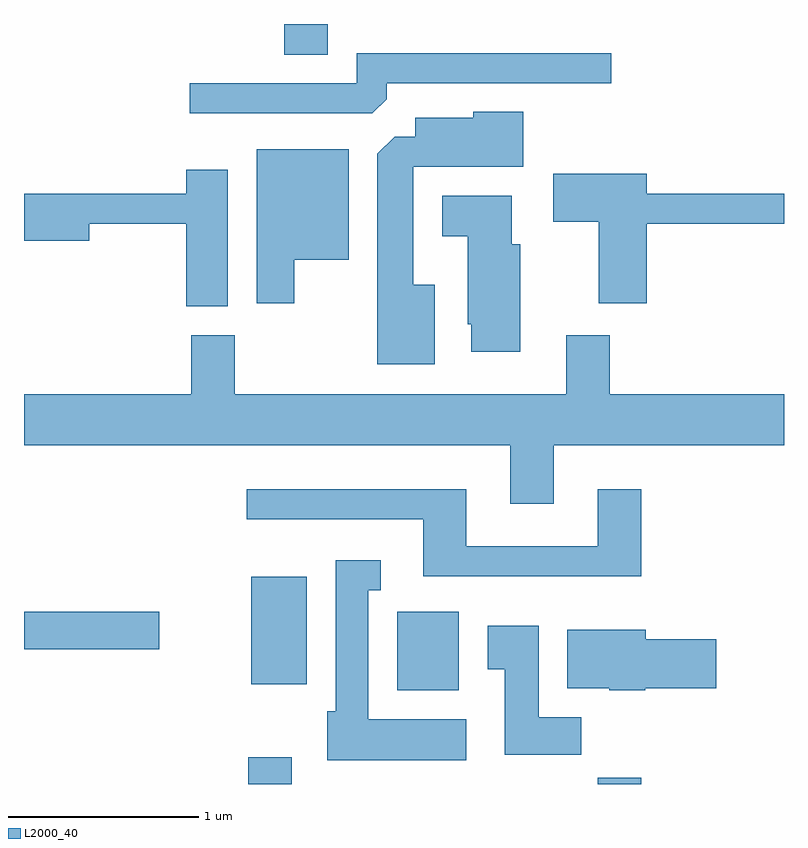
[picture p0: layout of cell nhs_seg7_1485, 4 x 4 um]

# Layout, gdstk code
import gdstk
lib = gdstk.Library(unit=1e-6, precision=1e-09)
def R(c, l, rs):  # rectangles x0, y0, x1, y1
    for r in rs: c.add(gdstk.rectangle(r[:2], r[2:], *l))
def P(c, l, *ps):  # polygons
    for p in ps: c.add(gdstk.Polygon(p, *l))
L2000_40 = (2000, 40)

nhs_seg7_1485 = lib.new_cell('nhs_seg7_1485')
R(nhs_seg7_1485, L2000_40, [(230.791,1770.252,231.019,1770.394), (232.631,1770.252,232.859,1770.284), (231.576,1770.746,231.899,1771.159), (230.806,1770.776,231.099,1771.344), (229.611,1770.961,230.324,1771.159), (230.981,1774.091,231.209,1774.252)])
P(nhs_seg7_1485, L2000_40, [(231.519,1773.857),(231.519,1773.941),(232.703,1773.941),(232.703,1774.099),(231.361,1774.099),(231.361,1773.939),(230.483,1773.939),(230.483,1773.781),(231.444,1773.781)],
  [(231.774,1772.879),(231.659,1772.879),(231.659,1773.501),(232.239,1773.501),(232.239,1773.789),(231.976,1773.789),(231.976,1773.759),(231.671,1773.759),(231.671,1773.659),(231.562,1773.659),(231.471,1773.569),(231.471,1772.461),(231.774,1772.461)],
  [(231.034,1773.011),(231.319,1773.011),(231.319,1773.594),(230.836,1773.594),(230.836,1772.781),(231.034,1772.781)],
  [(230.684,1773.484),(230.466,1773.484),(230.466,1773.359),(229.611,1773.359),(229.611,1773.111),(229.954,1773.111),(229.954,1773.201),(230.466,1773.201),(230.466,1772.766),(230.684,1772.766)],
  [(232.889,1773.201),(233.611,1773.201),(233.611,1773.359),(232.889,1773.359),(232.889,1773.464),(232.396,1773.464),(232.396,1773.211),(232.636,1773.211),(232.636,1772.781),(232.889,1772.781)],
  [(232.224,1773.094),(232.179,1773.094),(232.179,1773.349),(231.811,1773.349),(231.811,1773.136),(231.946,1773.136),(231.946,1772.671),(231.966,1772.671),(231.966,1772.526),(232.224,1772.526)],
  [(232.399,1772.036),(233.611,1772.036),(233.611,1772.304),(232.694,1772.304),(232.694,1772.614),(232.466,1772.614),(232.466,1772.304),(230.719,1772.304),(230.719,1772.614),(230.491,1772.614),(230.491,1772.304),(229.611,1772.304),(229.611,1772.036),(232.171,1772.036),(232.171,1771.726),(232.399,1771.726)],
  [(232.859,1771.804),(232.631,1771.804),(232.631,1771.504),(231.939,1771.504),(231.939,1771.804),(230.783,1771.804),(230.783,1771.646),(231.711,1771.646),(231.711,1771.346),(232.859,1771.346)],
  [(231.939,1770.594),(231.424,1770.594),(231.424,1771.271),(231.488,1771.271),(231.488,1771.429),(231.251,1771.429),(231.251,1770.634),(231.206,1770.634),(231.206,1770.376),(231.939,1770.376)],
  [(232.544,1770.604),(232.319,1770.604),(232.319,1771.084),(232.051,1771.084),(232.051,1770.856),(232.141,1770.856),(232.141,1770.406),(232.544,1770.406)],
  [(232.88,1770.756),(233.254,1770.756),(233.254,1771.014),(232.884,1771.014),(232.884,1771.064),(232.471,1771.064),(232.471,1770.756),(232.69,1770.756),(232.69,1770.746),(232.88,1770.746)])

lib.write_gds('nhs_seg7_1485.gds')
